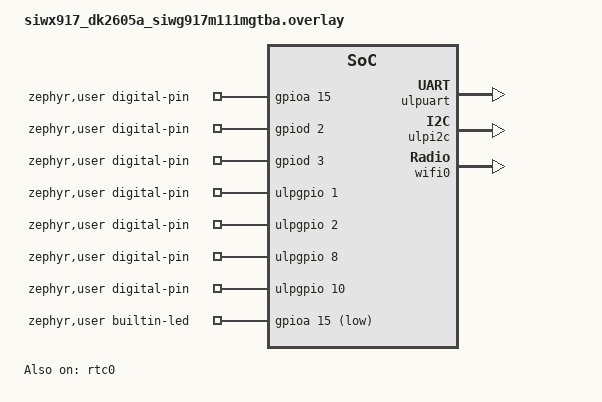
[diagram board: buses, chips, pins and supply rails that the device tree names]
&flash0 {
	partitions {
		compatible = "fixed-partitions";
		#address-cells = <1>;
		#size-cells = <1>;

		code_partition: partition@0 {
			reg = <0x00000000 0x00040000>;
			label = "code_partition";
		};

		user_sketch: partition@0x40000 {
			reg = <0x00040000 0x001B2000>;
			label = "user";
		};
	};
};

/ {
	zephyr,user {
		digital-pin-gpios = <&gpioa 15 0>, /* D0 - Blue LED */
				<&gpiod 2 0>, /* D1 - Red LED */
				<&gpiod 3 0>, /* D2 - Green LED */

				<&ulpgpio 1 0>, /* D3 - SPI MOSI */
				<&ulpgpio 2 0>, /* D4 - SPI MISO */
				<&ulpgpio 8 0>, /* D5 - SPI SCK */
				<&ulpgpio 10 0>; /* D6 - SPI CS */

		builtin-led-gpios = <&gpioa 15 GPIO_ACTIVE_LOW>;

		serials = <&ulpuart>;
		i2cs = <&ulpi2c>;
	};
};

&ulpuart {
	status = "okay";
};

zephyr_i2c: &ulpi2c {
	status = "okay";
};

&wifi0 {
	status = "okay";
};

&rtc0 {
	status = "okay";
};

/ {
    chosen {
        zephyr,wifi = &wifi0;
		zephyr,rtc = &rtc0;
    };
};
